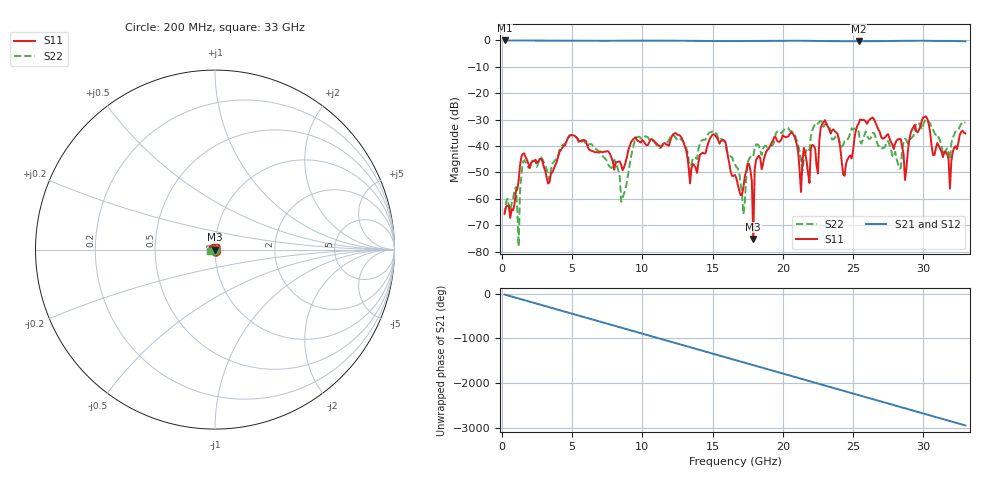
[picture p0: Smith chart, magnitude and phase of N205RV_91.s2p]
# GHZ S RI R 50
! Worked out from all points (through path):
!   329 points, 200 MHz to 33 GHz, reference 50 ohm
!   highest |S21| = -0.01 dB at 200 MHz (marker M1); lowest = -0.3 dB at 25.4 GHz (marker M2)
!   group delay of S21, straight-line fit = 248 ps
!   lowest |S11| = -75.3 dB at 17.9 GHz (marker M3), VSWR 1.00, Z = 50 + j0.0159 ohm
!   |S11| at or under -10 dB: start of sweep to end of sweep
!   |S22| runs from -78.0 to -29.9 dB; largest |S21 - S12| = 0.0019
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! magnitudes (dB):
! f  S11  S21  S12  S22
! 200 MHz  -65.4  0.0  0.0  -66.3
! 1 GHz  -57.2  0.0  0.0  -55.6
! 1.2 GHz  -53.1  0.0  0.0  -78.0
! 1.5 GHz  -43.0  0.0  0.0  -46.0
! 5.7 GHz  -37.9  -0.2  -0.2  -38.3
! 8.5 GHz  -47.3  -0.1  -0.1  -61.2
! 11.2 GHz  -39.9  -0.1  -0.1  -40.8
! 16.6 GHz  -51.0  -0.2  -0.2  -47.0
! 17.2 GHz  -55.7  -0.2  -0.2  -65.8
! 17.6 GHz  -46.9  -0.2  -0.2  -44.9
! 17.9 GHz  -75.3  -0.2  -0.2  -44.0
! 18.2 GHz  -44.3  -0.2  -0.2  -39.4
! 20.7 GHz  -35.2  -0.1  -0.1  -34.7
! 21.3 GHz  -57.4  -0.1  -0.1  -45.2
! 22.1 GHz  -39.6  -0.2  -0.2  -34.1
! 24.4 GHz  -51.3  -0.3  -0.3  -38.2
! 25.4 GHz  -31.5  -0.3  -0.3  -34.6
! 27.6 GHz  -37.2  -0.2  -0.2  -39.5
! 28.7 GHz  -52.9  -0.2  -0.2  -37.2
! 30.2 GHz  -28.8  -0.1  -0.1  -29.9
! 31.9 GHz  -56.2  -0.2  -0.2  -45.2
! 33 GHz  -35.3  -0.3  -0.3  -31.2
